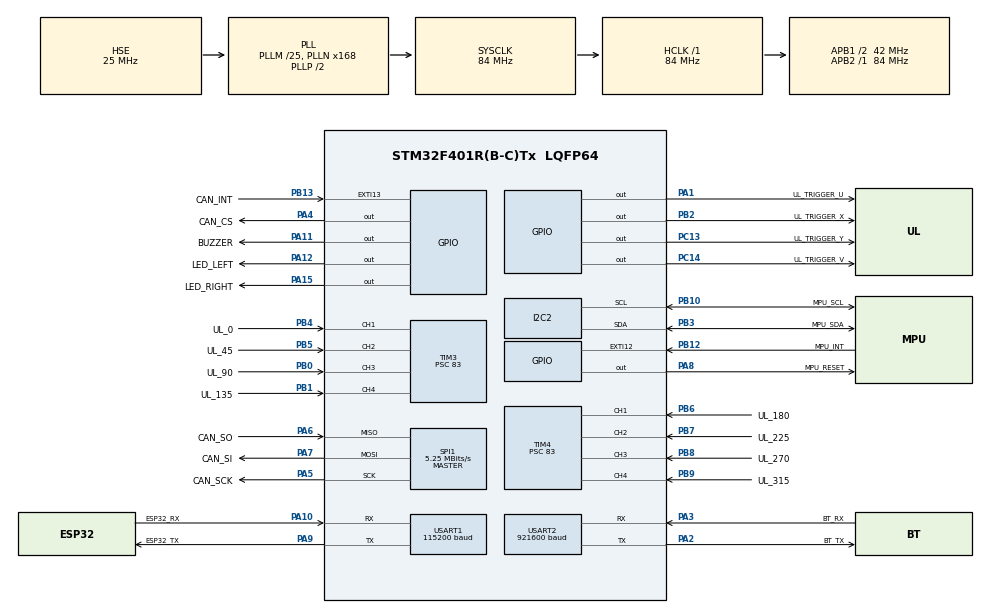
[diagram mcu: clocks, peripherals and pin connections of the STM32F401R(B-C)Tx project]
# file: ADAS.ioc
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FREERTOS.BinarySemaphores01=MPU_sema,Dynamic,NULL,Depleted;CONTROL_sema,Dynamic,NULL,Depleted;PID_tune_sema,Dynamic,NULL,Depleted;KalmanReady_sema,Dynamic,NULL,Depleted;YawPIDReady_sema,Dynamic,NULL,Depleted
FREERTOS.CountingSemaphores01=CAN_sema,2,Dynamic,NULL,0;Orientation_sema,2,Dynamic,NULL,0
FREERTOS.Tasks01=MPU_task,48,128,MPUtask,Default,NULL,Dynamic,NULL,NULL;CAN_task,48,512,CANtask,Default,NULL,Dynamic,NULL,NULL;MONITORING_task,48,128,MONITORINGtask,Default,NULL,Dynamic,NULL,NULL;Ultrasonic_task,48,128,ULTRASONICtask,Default,NULL,Dynamic,NULL,NULL;CONTROL_task,49,128,CONTROLtask,Default,NULL,Dynamic,NULL,NULL;YawKalman_task,48,128,YawKalmanTask,Default,NULL,Dynamic,NULL,NULL;YawPID_task,49,128,YawPIDtask,Default,NULL,Dynamic,NULL,NULL;ACC_Task,48,256,ACCtask,Default,NULL,Dynamic,NULL,NULL;TSR_Task,48,128,TSRtask,Default,NULL,Dynamic,NULL,NULL;BSD_task,48,128,BSDtask,Default,NULL,Dynamic,NULL,NULL;BUZZ_task,48,128,BUZZtask,Default,NULL,Dynamic,NULL,NULL;ALC_Task,48,128,ALCtask,Default,NULL,Dynamic,NULL,NULL;APK_Task,48,512,APKtask,Default,NULL,Dynamic,NULL,NULL
FREERTOS.Timers01=Timer_test,callback_test,osTimerPeriodic,Default,NULL,Dynamic,NULL
FREERTOS.configENABLE_FPU=1
FREERTOS.configRECORD_STACK_HIGH_ADDRESS=1
FREERTOS.configTOTAL_HEAP_SIZE=30720
I2C2.I2C_Mode=I2C_Fast
Mcu.Family=STM32F4
Mcu.Name=STM32F401R(B-C)Tx
Mcu.Package=LQFP64
NVIC.EXTI15_10_IRQn=true\:5\:0\:false\:false\:true\:true\:true\:true\:true
NVIC.PriorityGroup=NVIC_PRIORITYGROUP_4
NVIC.TIM1_UP_TIM10_IRQn=true\:15\:0\:false\:false\:true\:false\:false\:true\:true
NVIC.TIM3_IRQn=true\:5\:0\:false\:false\:true\:true\:true\:true\:true
NVIC.TIM4_IRQn=true\:5\:0\:false\:false\:true\:true\:true\:true\:true
NVIC.TimeBase=TIM1_UP_TIM10_IRQn
NVIC.TimeBaseIP=TIM10
NVIC.USART1_IRQn=true\:5\:0\:false\:false\:true\:true\:true\:true\:true
PA1.GPIO_Label=UL_TRIGGER_U
PA1.GPIO_ModeDefaultOutputPP=GPIO_MODE_OUTPUT_PP
PA1.GPIO_PuPd=GPIO_PULLDOWN
PA1.GPIO_Speed=GPIO_SPEED_FREQ_HIGH
PA1.PinState=GPIO_PIN_RESET
PA1.Signal=GPIO_Output
PA10.GPIO_Label=ESP32_RX
PA10.GPIO_PuPd=GPIO_PULLUP
PA10.Mode=Asynchronous
PA10.Signal=USART1_RX
PA11.GPIO_Label=BUZZER
PA11.GPIO_PuPd=GPIO_PULLDOWN
PA11.Signal=GPIO_Output
PA12.GPIO_Label=LED_LEFT
PA12.GPIO_PuPd=GPIO_PULLDOWN
PA12.Signal=GPIO_Output
PA13.Mode=Serial_Wire
PA13.Signal=SYS_JTMS-SWDIO
PA14.Mode=Serial_Wire
PA14.Signal=SYS_JTCK-SWCLK
PA15.GPIO_Label=LED_RIGHT
PA15.Signal=GPIO_Output
PA2.GPIO_Label=BT_TX
PA2.GPIO_ModeDefaultPP=GPIO_MODE_AF_PP
PA2.GPIO_PuPd=GPIO_PULLUP
PA2.Mode=Asynchronous
PA2.Signal=USART2_TX
PA3.GPIO_Label=BT_RX
PA3.GPIO_ModeDefaultPP=GPIO_MODE_AF_PP
PA3.GPIO_PuPd=GPIO_PULLUP
PA3.Mode=Asynchronous
PA3.Signal=USART2_RX
PA4.GPIO_Label=CAN_CS
PA4.GPIO_PuPd=GPIO_PULLUP
PA4.PinState=GPIO_PIN_SET
PA4.Signal=GPIO_Output
PA5.GPIO_Label=CAN_SCK
PA5.GPIO_PuPd=GPIO_PULLUP
PA5.Mode=Full_Duplex_Master
PA5.Signal=SPI1_SCK
PA6.GPIO_Label=CAN_SO
PA6.GPIO_PuPd=GPIO_PULLUP
PA6.Mode=Full_Duplex_Master
PA6.Signal=SPI1_MISO
PA7.GPIO_Label=CAN_SI
PA7.GPIO_PuPd=GPIO_PULLUP
PA7.Mode=Full_Duplex_Master
PA7.Signal=SPI1_MOSI
PA8.GPIO_Label=MPU_RESET
PA8.Signal=GPIO_Output
PA9.GPIO_Label=ESP32_TX
PA9.GPIO_PuPd=GPIO_PULLUP
PA9.Mode=Asynchronous
PA9.Signal=USART1_TX
PB0.GPIO_Label=UL_90
PB0.GPIO_PuPd=GPIO_PULLDOWN
PB0.Signal=S_TIM3_CH3
PB1.GPIO_Label=UL_135
PB1.GPIO_PuPd=GPIO_PULLDOWN
PB1.Signal=S_TIM3_CH4
PB10.GPIO_Label=MPU_SCL
PB10.GPIO_Mode=GPIO_MODE_AF_OD
PB10.GPIO_Pu=GPIO_PULLUP
PB10.GPIO_Speed=GPIO_SPEED_FREQ_VERY_HIGH
PB10.Mode=I2C
PB10.Signal=I2C2_SCL
PB12.GPIO_Label=MPU_INT
PB12.GPIO_ModeDefaultEXTI=GPIO_MODE_IT_RISING
PB12.GPIO_PuPd=GPIO_PULLDOWN
PB12.Signal=GPXTI12
PB13.GPIO_Label=CAN_INT
PB13.GPIO_ModeDefaultEXTI=GPIO_MODE_IT_FALLING
PB13.GPIO_PuPd=GPIO_PULLUP
PB13.Signal=GPXTI13
PB2.GPIO_Label=UL_TRIGGER_X
PB2.GPIO_ModeDefaultOutputPP=GPIO_MODE_OUTPUT_PP
PB2.GPIO_PuPd=GPIO_PULLDOWN
PB2.GPIO_Speed=GPIO_SPEED_FREQ_HIGH
PB2.PinState=GPIO_PIN_RESET
PB2.Signal=GPIO_Output
PB3.GPIO_Label=MPU_SDA
PB3.GPIO_Mode=GPIO_MODE_AF_OD
PB3.GPIO_Pu=GPIO_PULLUP
PB3.GPIO_Speed=GPIO_SPEED_FREQ_VERY_HIGH
PB3.Mode=I2C
PB3.Signal=I2C2_SDA
PB4.GPIO_Label=UL_0
PB4.GPIO_PuPd=GPIO_PULLDOWN
PB4.Signal=S_TIM3_CH1
PB5.GPIO_Label=UL_45
PB5.GPIO_PuPd=GPIO_PULLDOWN
PB5.Signal=S_TIM3_CH2
PB6.GPIO_Label=UL_180
PB6.GPIO_PuPd=GPIO_PULLDOWN
PB6.Signal=S_TIM4_CH1
PB7.GPIO_Label=UL_225
PB7.GPIO_PuPd=GPIO_PULLDOWN
PB7.Signal=S_TIM4_CH2
PB8.GPIO_Label=UL_270
PB8.GPIO_PuPd=GPIO_PULLDOWN
PB8.Signal=S_TIM4_CH3
PB9.GPIO_Label=UL_315
PB9.GPIO_PuPd=GPIO_PULLDOWN
PB9.Signal=S_TIM4_CH4
PC13-ANTI_TAMP.GPIO_Label=UL_TRIGGER_Y
PC13-ANTI_TAMP.Signal=GPIO_Output
PC14-OSC32_IN.GPIO_Label=UL_TRIGGER_V
PC14-OSC32_IN.Signal=GPIO_Output
PH0\ -\ OSC_IN.Mode=HSE-External-Oscillator
PH0\ -\ OSC_IN.Signal=RCC_OSC_IN
PH1\ -\ OSC_OUT.Mode=HSE-External-Oscillator
PH1\ -\ OSC_OUT.Signal=RCC_OSC_OUT
ProjectManager.HeapSize=0x200
ProjectManager.StackSize=0x400
ProjectManager.TargetToolchain=STM32CubeIDE
RCC.48MHZClocksFreq_Value=42000000
RCC.AHBFreq_Value=84000000
RCC.APB1CLKDivider=RCC_HCLK_DIV2
RCC.APB1Freq_Value=42000000
RCC.APB1TimFreq_Value=84000000
RCC.APB2Freq_Value=84000000
RCC.APB2TimFreq_Value=84000000
RCC.CortexFreq_Value=84000000
RCC.EnbaleCSS=true
RCC.HCLKFreq_Value=84000000
RCC.HSE_VALUE=25000000
RCC.HSI_VALUE=16000000
RCC.LSE_VALUE=32768
RCC.PLLM=25
RCC.PLLN=168
RCC.PLLSourceVirtual=RCC_PLLSOURCE_HSE
RCC.SYSCLKFreq_VALUE=84000000
RCC.SYSCLKSource=RCC_SYSCLKSOURCE_PLLCLK
RCC.VCOOutputFreq_Value=168000000
SH.S_TIM3_CH1.0=TIM3_CH1,Input_Capture1_from_TI1
SH.S_TIM3_CH2.0=TIM3_CH2,Input_Capture2_from_TI2
SH.S_TIM3_CH3.0=TIM3_CH3,Input_Capture3_from_TI3
SH.S_TIM3_CH4.0=TIM3_CH4,Input_Capture4_from_TI4
SH.S_TIM4_CH1.0=TIM4_CH1,Input_Capture1_from_TI1
SH.S_TIM4_CH2.0=TIM4_CH2,Input_Capture2_from_TI2
SH.S_TIM4_CH3.0=TIM4_CH3,Input_Capture3_from_TI3
SH.S_TIM4_CH4.0=TIM4_CH4,Input_Capture4_from_TI4
SPI1.BaudRatePrescaler=SPI_BAUDRATEPRESCALER_16
SPI1.CalculateBaudRate=5.25 MBits/s
SPI1.Direction=SPI_DIRECTION_2LINES
SPI1.Mode=SPI_MODE_MASTER
SPI1.VirtualType=VM_MASTER
TIM3.Channel-Input_Capture1_from_TI1=TIM_CHANNEL_1
TIM3.Channel-Input_Capture2_from_TI2=TIM_CHANNEL_2
TIM3.Channel-Input_Capture3_from_TI3=TIM_CHANNEL_3
TIM3.Channel-Input_Capture4_from_TI4=TIM_CHANNEL_4
TIM3.ICPolarity_CH1=TIM_INPUTCHANNELPOLARITY_BOTHEDGE
TIM3.ICPolarity_CH2=TIM_INPUTCHANNELPOLARITY_BOTHEDGE
TIM3.ICPolarity_CH3=TIM_INPUTCHANNELPOLARITY_BOTHEDGE
TIM3.ICPolarity_CH4=TIM_INPUTCHANNELPOLARITY_BOTHEDGE
TIM3.Prescaler=83
TIM4.Channel-Input_Capture1_from_TI1=TIM_CHANNEL_1
TIM4.Channel-Input_Capture2_from_TI2=TIM_CHANNEL_2
TIM4.Channel-Input_Capture3_from_TI3=TIM_CHANNEL_3
TIM4.Channel-Input_Capture4_from_TI4=TIM_CHANNEL_4
TIM4.ICPolarity_CH1=TIM_INPUTCHANNELPOLARITY_BOTHEDGE
TIM4.ICPolarity_CH2=TIM_INPUTCHANNELPOLARITY_BOTHEDGE
TIM4.ICPolarity_CH3=TIM_INPUTCHANNELPOLARITY_BOTHEDGE
TIM4.ICPolarity_CH4=TIM_INPUTCHANNELPOLARITY_BOTHEDGE
TIM4.Prescaler=83
USART1.BaudRate=115200
USART1.VirtualMode=VM_ASYNC
USART2.BaudRate=921600
USART2.Mode=MODE_TX_RX
USART2.Parity=PARITY_NONE
USART2.StopBits=STOPBITS_1
USART2.VirtualMode=VM_ASYNC
USART2.WordLength=WORDLENGTH_8B
VP_CRC_VS_CRC.Mode=CRC_Activate
VP_FREERTOS_VS_CMSIS_V2.Mode=CMSIS_V2
VP_SYS_VS_tim10.Mode=TIM10
board=custom

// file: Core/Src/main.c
/* USER CODE BEGIN Header */
/**
  ******************************************************************************
  * @file           : main.c
  * @brief          : Main program body
  ******************************************************************************
  * @attention
  *
  * Copyright (c) 2024 STMicroelectronics.
  * All rights reserved.
  *
  * This software is licensed under terms that can be found in the LICENSE file
  * in the root directory of this software component.
  * If no LICENSE file comes with this software, it is provided AS-IS.
  *
  ******************************************************************************
  */
/* USER CODE END Header */
#include "main.h"
#include "cmsis_os.h"
#include "crc.h"
#include "i2c.h"
#include "spi.h"
#include "tim.h"
#include "usart.h"
#include "gpio.h"

void SystemClock_Config(void);
void MX_FREERTOS_Init(void);

int main(void)
{

  /* MCU Configuration--------------------------------------------------------*/

  /* Reset of all peripherals, Initializes the Flash interface and the Systick. */
  HAL_Init();

  /* Configure the system clock */
  SystemClock_Config();

  /* Initialize all configured peripherals */
  MX_GPIO_Init();
  MX_TIM4_Init();
  MX_TIM3_Init();
  MX_I2C2_Init();
  MX_SPI1_Init();
  MX_USART1_UART_Init();
  MX_USART2_UART_Init();
  MX_CRC_Init();
  /* USER CODE BEGIN 2 */
  //HAL_TIM_PWM_Start(&htim4, TIM_CHANNEL_1);
  /* USER CODE END 2 */

  /* Init scheduler */
  osKernelInitialize();

  /* Call init function for freertos objects (in cmsis_os2.c) */
  MX_FREERTOS_Init();

  /* Start scheduler */
  osKernelStart();

  /* We should never get here as control is now taken by the scheduler */

  /* Infinite loop */
  while (1)
  {

  }
}

void SystemClock_Config(void)
{
  RCC_OscInitTypeDef RCC_OscInitStruct = {0};
  RCC_ClkInitTypeDef RCC_ClkInitStruct = {0};

  /** Configure the main internal regulator output voltage
  */
  __HAL_RCC_PWR_CLK_ENABLE();
  __HAL_PWR_VOLTAGESCALING_CONFIG(PWR_REGULATOR_VOLTAGE_SCALE2);

  /** Initializes the RCC Oscillators according to the specified parameters
  * in the RCC_OscInitTypeDef structure.
  */
  RCC_OscInitStruct.OscillatorType = RCC_OSCILLATORTYPE_HSE;
  RCC_OscInitStruct.HSEState = RCC_HSE_ON;
  RCC_OscInitStruct.PLL.PLLState = RCC_PLL_ON;
  RCC_OscInitStruct.PLL.PLLSource = RCC_PLLSOURCE_HSE;
  RCC_OscInitStruct.PLL.PLLM = 25;
  RCC_OscInitStruct.PLL.PLLN = 168;
  RCC_OscInitStruct.PLL.PLLP = RCC_PLLP_DIV2;
  RCC_OscInitStruct.PLL.PLLQ = 4;
  if (HAL_RCC_OscConfig(&RCC_OscInitStruct) != HAL_OK)
  {
    Error_Handler();
  }

  /** Initializes the CPU, AHB and APB buses clocks
  */
  RCC_ClkInitStruct.ClockType = RCC_CLOCKTYPE_HCLK|RCC_CLOCKTYPE_SYSCLK
                              |RCC_CLOCKTYPE_PCLK1|RCC_CLOCKTYPE_PCLK2;
  RCC_ClkInitStruct.SYSCLKSource = RCC_SYSCLKSOURCE_PLLCLK;
  RCC_ClkInitStruct.AHBCLKDivider = RCC_SYSCLK_DIV1;
  RCC_ClkInitStruct.APB1CLKDivider = RCC_HCLK_DIV2;
  RCC_ClkInitStruct.APB2CLKDivider = RCC_HCLK_DIV1;

  if (HAL_RCC_ClockConfig(&RCC_ClkInitStruct, FLASH_LATENCY_2) != HAL_OK)
  {
    Error_Handler();
  }

  /** Enables the Clock Security System
  */
  HAL_RCC_EnableCSS();
}

void HAL_TIM_PeriodElapsedCallback(TIM_HandleTypeDef *htim)
{
  if (htim->Instance == TIM10) {
    HAL_IncTick();
  }
}

void Error_Handler(void)
{
  __disable_irq();
  while (1)
  {
  }
}

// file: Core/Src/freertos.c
/* USER CODE BEGIN Header */
/**
  ******************************************************************************
  * File Name          : freertos.c
  * Description        : Code for freertos applications
  ******************************************************************************
  * @attention
  *
  * Copyright (c) 2025 STMicroelectronics.
  * All rights reserved.
  *
  * This software is licensed under terms that can be found in the LICENSE file
  * in the root directory of this software component.
  * If no LICENSE file comes with this software, it is provided AS-IS.
  *
  ******************************************************************************
  */
/* USER CODE END Header */

#include "FreeRTOS.h"
#include "task.h"
#include "main.h"
#include "cmsis_os.h"

/* USER CODE BEGIN Includes */
#include "../../APP_Layer/inc/APP.h"
/* USER CODE END Includes */

/* USER CODE BEGIN Variables */

uint8_t ACC_Flag = 0;
uint8_t TSR_Flag = 0;
uint8_t BSD_Flag = 0;
uint8_t APK_Flag = 0;
uint8_t Emergency_Stop_Flag = 0;

/* USER CODE END Variables */
/* Definitions for MPU_task */
osThreadId_t MPU_taskHandle;
const osThreadAttr_t MPU_task_attributes = {
  .name = "MPU_task",
  .stack_size = 128 * 4,
  .priority = (osPriority_t) osPriorityRealtime,
};
/* Definitions for CAN_task */
osThreadId_t CAN_taskHandle;
const osThreadAttr_t CAN_task_attributes = {
  .name = "CAN_task",
  .stack_size = 512 * 4,
  .priority = (osPriority_t) osPriorityRealtime,
};
/* Definitions for MONITORING_task */
osThreadId_t MONITORING_taskHandle;
const osThreadAttr_t MONITORING_task_attributes = {
  .name = "MONITORING_task",
  .stack_size = 128 * 4,
  .priority = (osPriority_t) osPriorityRealtime,
};
/* Definitions for Ultrasonic_task */
osThreadId_t Ultrasonic_taskHandle;
const osThreadAttr_t Ultrasonic_task_attributes = {
  .name = "Ultrasonic_task",
  .stack_size = 128 * 4,
  .priority = (osPriority_t) osPriorityRealtime,
};
/* Definitions for CONTROL_task */
osThreadId_t CONTROL_taskHandle;
const osThreadAttr_t CONTROL_task_attributes = {
  .name = "CONTROL_task",
  .stack_size = 128 * 4,
  .priority = (osPriority_t) osPriorityRealtime1,
};
/* Definitions for YawKalman_task */
osThreadId_t YawKalman_taskHandle;
const osThreadAttr_t YawKalman_task_attributes = {
  .name = "YawKalman_task",
  .stack_size = 128 * 4,
  .priority = (osPriority_t) osPriorityRealtime,
};
/* Definitions for YawPID_task */
osThreadId_t YawPID_taskHandle;
const osThreadAttr_t YawPID_task_attributes = {
  .name = "YawPID_task",
  .stack_size = 128 * 4,
  .priority = (osPriority_t) osPriorityRealtime1,
};
/* Definitions for ACC_Task */
osThreadId_t ACC_TaskHandle;
const osThreadAttr_t ACC_Task_attributes = {
  .name = "ACC_Task",
  .stack_size = 256 * 4,
  .priority = (osPriority_t) osPriorityRealtime,
};
/* Definitions for TSR_Task */
osThreadId_t TSR_TaskHandle;
const osThreadAttr_t TSR_Task_attributes = {
  .name = "TSR_Task",
  .stack_size = 128 * 4,
  .priority = (osPriority_t) osPriorityRealtime,
};
/* Definitions for BSD_task */
osThreadId_t BSD_taskHandle;
const osThreadAttr_t BSD_task_attributes = {
  .name = "BSD_task",
  .stack_size = 128 * 4,
  .priority = (osPriority_t) osPriorityRealtime,
};
/* Definitions for BUZZ_task */
osThreadId_t BUZZ_taskHandle;
const osThreadAttr_t BUZZ_task_attributes = {
  .name = "BUZZ_task",
  .stack_size = 128 * 4,
  .priority = (osPriority_t) osPriorityRealtime,
};
/* Definitions for ALC_Task */
osThreadId_t ALC_TaskHandle;
const osThreadAttr_t ALC_Task_attributes = {
  .name = "ALC_Task",
  .stack_size = 128 * 4,
  .priority = (osPriority_t) osPriorityRealtime,
};
/* Definitions for APK_Task */
osThreadId_t APK_TaskHandle;
const osThreadAttr_t APK_Task_attributes = {
  .name = "APK_Task",
  .stack_size = 512 * 4,
  .priority = (osPriority_t) osPriorityRealtime,
};
/* Definitions for Timer_test */
osTimerId_t Timer_testHandle;
const osTimerAttr_t Timer_test_attributes = {
  .name = "Timer_test"
};
/* Definitions for MPU_sema */
osSemaphoreId_t MPU_semaHandle;
const osSemaphoreAttr_t MPU_sema_attributes = {
  .name = "MPU_sema"
};
/* Definitions for CONTROL_sema */
osSemaphoreId_t CONTROL_semaHandle;
const osSemaphoreAttr_t CONTROL_sema_attributes = {
  .name = "CONTROL_sema"
};
/* Definitions for PID_tune_sema */
osSemaphoreId_t PID_tune_semaHandle;
const osSemaphoreAttr_t PID_tune_sema_attributes = {
  .name = "PID_tune_sema"
};
/* Definitions for KalmanReady_sema */
osSemaphoreId_t KalmanReady_semaHandle;
const osSemaphoreAttr_t KalmanReady_sema_attributes = {
  .name = "KalmanReady_sema"
};
/* Definitions for YawPIDReady_sema */
osSemaphoreId_t YawPIDReady_semaHandle;
const osSemaphoreAttr_t YawPIDReady_sema_attributes = {
  .name = "YawPIDReady_sema"
};
/* Definitions for CAN_sema */
osSemaphoreId_t CAN_semaHandle;
const osSemaphoreAttr_t CAN_sema_attributes = {
  .name = "CAN_sema"
};
/* Definitions for Orientation_sema */
osSemaphoreId_t Orientation_semaHandle;
const osSemaphoreAttr_t Orientation_sema_attributes = {
  .name = "Orientation_sema"
};

/* USER CODE BEGIN FunctionPrototypes */
void Adaptive_Cruise_Control(void *);
void Traffic_Sign_Recognition(void *);
void Blind_Spot_Detection(void *);
void Change_Lane_Left(void *);
void Change_Lane_Right(void *);
void Park(void *);
void Increase_N(void *);
void Emergency_Stop(void *);

void Yaw_PID_suspend(void);
void Yaw_PID_resume(void);

void BuzzerDelay(uint32_t ticks);
void BuzzerResume(void);
void BuzzerSuspend(void);
/* USER CODE END FunctionPrototypes */

void MPUtask(void *argument);
void CANtask(void *argument);
void MONITORINGtask(void *argument);
void ULTRASONICtask(void *argument);
void CONTROLtask(void *argument);
void YawKalmanTask(void *argument);
void YawPIDtask(void *argument);
void ACCtask(void *argument);
void TSRtask(void *argument);
void BSDtask(void *argument);
void BUZZtask(void *argument);
void ALCtask(void *argument);
void APKtask(void *argument);
void callback_test(void *argument);

void MX_FREERTOS_Init(void); /* (MISRA C 2004 rule 8.1) */

void MX_FREERTOS_Init(void) {

  /* Create the semaphores(s) */
  /* creation of MPU_sema */
  MPU_semaHandle = osSemaphoreNew(1, 0, &MPU_sema_attributes);

  /* creation of CONTROL_sema */
  CONTROL_semaHandle = osSemaphoreNew(1, 0, &CONTROL_sema_attributes);

  /* creation of PID_tune_sema */
  PID_tune_semaHandle = osSemaphoreNew(1, 0, &PID_tune_sema_attributes);

  /* creation of KalmanReady_sema */
  KalmanReady_semaHandle = osSemaphoreNew(1, 0, &KalmanReady_sema_attributes);

  /* creation of YawPIDReady_sema */
  YawPIDReady_semaHandle = osSemaphoreNew(1, 0, &YawPIDReady_sema_attributes);

  /* creation of CAN_sema */
  CAN_semaHandle = osSemaphoreNew(2, 0, &CAN_sema_attributes);

  /* creation of Orientation_sema */
  Orientation_semaHandle = osSemaphoreNew(2, 0, &Orientation_sema_attributes);

  /* Create the timer(s) */
  /* creation of Timer_test */
  Timer_testHandle = osTimerNew(callback_test, osTimerPeriodic, NULL, &Timer_test_attributes);

  /* Create the thread(s) */
  /* creation of MPU_task */
  MPU_taskHandle = osThreadNew(MPUtask, NULL, &MPU_task_attributes);

  /* creation of CAN_task */
  CAN_taskHandle = osThreadNew(CANtask, NULL, &CAN_task_attributes);

  /* creation of MONITORING_task */
  MONITORING_taskHandle = osThreadNew(MONITORINGtask, NULL, &MONITORING_task_attributes);

  /* creation of Ultrasonic_task */
  Ultrasonic_taskHandle = osThreadNew(ULTRASONICtask, NULL, &Ultrasonic_task_attributes);

  /* creation of CONTROL_task */
  CONTROL_taskHandle = osThreadNew(CONTROLtask, NULL, &CONTROL_task_attributes);

  /* creation of YawKalman_task */
  YawKalman_taskHandle = osThreadNew(YawKalmanTask, NULL, &YawKalman_task_attributes);

  /* creation of YawPID_task */
  YawPID_taskHandle = osThreadNew(YawPIDtask, NULL, &YawPID_task_attributes);

  /* creation of ACC_Task */
  ACC_TaskHandle = osThreadNew(ACCtask, NULL, &ACC_Task_attributes);

  /* creation of TSR_Task */
  TSR_TaskHandle = osThreadNew(TSRtask, NULL, &TSR_Task_attributes);

  /* creation of BSD_task */
  BSD_taskHandle = osThreadNew(BSDtask, NULL, &BSD_task_attributes);

  /* creation of BUZZ_task */
  BUZZ_taskHandle = osThreadNew(BUZZtask, NULL, &BUZZ_task_attributes);

  /* creation of ALC_Task */
  ALC_TaskHandle = osThreadNew(ALCtask, NULL, &ALC_Task_attributes);

  /* creation of APK_Task */
  APK_TaskHandle = osThreadNew(APKtask, NULL, &APK_Task_attributes);

}

void MPUtask(void *argument)
{
  /* USER CODE BEGIN MPUtask */
  osDelay(100);
  app_status_t t_AppStatus = MPU_task_init(&Main_MPU);
  osSemaphoreAcquire(Orientation_semaHandle, osWaitForever);
  for (uint32_t i = 0; i < 100; i++)
  {
    osSemaphoreAcquire(MPU_semaHandle, osWaitForever);
    t_AppStatus |= MPU_update_task(&Main_MPU);
    MpuGz = Main_MPU.mpu->Gz;
    t_AppStatus |= Orientation_Gyro_calibration(&Main_Orientation);
  }
  Main_Orientation.GyroBias /= 100.0f;
  osSemaphoreRelease(KalmanReady_semaHandle);
  osSemaphoreRelease(YawPIDReady_semaHandle);
  /* Infinite loop */
  for(;;)
  {
    osSemaphoreAcquire(MPU_semaHandle, osWaitForever);
    t_AppStatus |= MPU_update_task(&Main_MPU);
    MpuGz = Main_MPU.mpu->Gz;
  }
  /* USER CODE END MPUtask */
}

void CANtask(void *argument)
{
  /* USER CODE BEGIN CANtask */
  app_status_t t_AppStatus = CAN_task_init(&Main_CAN);
  t_AppStatus |= messages_init(Yaw_PID_suspend, Yaw_PID_resume);
  /* Infinite loop */
  for(;;)
  {
	//while(flag == 0);
    osSemaphoreAcquire(CAN_semaHandle, osWaitForever);
    t_AppStatus |= CAN_rx_task(&Main_CAN);
    //flag = 0;
  }
  /* USER CODE END CANtask */
}

void MONITORINGtask(void *argument)
{
  /* USER CODE BEGIN MONITORINGtask */
  app_status_t t_AppStatus = monitor_task_init(&Main_Monitor_values);
  /* Infinite loop */
  for(;;)
  {
    t_AppStatus |= monitor_update_task(&Main_Monitor_values);
    osDelay(100);
  }
  /* USER CODE END MONITORINGtask */
}

void ULTRASONICtask(void *argument)
{
  /* USER CODE BEGIN ULTRASONICtask */
  app_status_t t_AppStatus = ultrasonics_task_init(&Main_Ultrasonics);
  /* Infinite loop */
  for(;;)
  {
    t_AppStatus |= ultrasonics_update_task_X(&Main_Ultrasonics);
    osDelay(50);
    t_AppStatus |= ultrasonics_outlier_detect_X(&Main_Ultrasonics);

    t_AppStatus |= ultrasonics_update_task_Y(&Main_Ultrasonics);
    osDelay(50);
    t_AppStatus |= ultrasonics_outlier_detect_Y(&Main_Ultrasonics);

    t_AppStatus |= ultrasonics_update_task_U(&Main_Ultrasonics);
    osDelay(50);
    t_AppStatus |= ultrasonics_outlier_detect_U(&Main_Ultrasonics);

    t_AppStatus |= ultrasonics_update_task_V(&Main_Ultrasonics);
    osDelay(50);
    t_AppStatus |= ultrasonics_outlier_detect_V(&Main_Ultrasonics);

  }
  /* USER CODE END ULTRASONICtask */
}

void CONTROLtask(void *argument)
{
  /* USER CODE BEGIN CONTROLtask */
  app_status_t t_AppStatus = APP_OK;
  t_AppStatus |= controller_get_yaw_control_init(&Main_Controller, Yaw_PID_suspend);
  t_AppStatus |= controller_give_yaw_control_init(&Main_Controller, Yaw_PID_resume);
  t_AppStatus |= controller_add_callback(&Main_Controller, UP, Adaptive_Cruise_Control);
  t_AppStatus |= controller_add_callback(&Main_Controller, DOWN, Traffic_Sign_Recognition);
  t_AppStatus |= controller_add_callback(&Main_Controller, LEFT, Blind_Spot_Detection);
  t_AppStatus |= controller_add_callback(&Main_Controller, RIGHT, Change_Lane_Left);
  t_AppStatus |= controller_add_callback(&Main_Controller, SELECT, Change_Lane_Right);
  t_AppStatus |= controller_add_callback(&Main_Controller, START, Park);
  t_AppStatus |= controller_add_callback(&Main_Controller, LEFT_STICK, Increase_N);
  t_AppStatus |= controller_add_callback(&Main_Controller, RITHT_STICK, Park);
  /* Infinite loop */
  for(;;)
  {
    t_AppStatus |= controller_wait_receive(&Main_Controller);
    osSemaphoreAcquire(CONTROL_semaHandle, osWaitForever);
    t_AppStatus |= controller_task(&Main_Controller);
  }
  /* USER CODE END CONTROLtask */
}

void YawKalmanTask(void *argument)
{
  /* USER CODE BEGIN YawKalmanTask */
  app_status_t t_AppStatus = Orientation_task_init(&Main_Orientation);
  osSemaphoreRelease(Orientation_semaHandle);
  osSemaphoreAcquire(KalmanReady_semaHandle, osWaitForever);
  /* Infinite loop */
  for(;;)
  {
    t_AppStatus |= Orientation_Kf_task(&Main_Orientation);
    osDelay(10);
  }
  /* USER CODE END YawKalmanTask */
}

void YawPIDtask(void *argument)
{
  /* USER CODE BEGIN YawPIDtask */
  app_status_t t_AppStatus = APP_OK;
  osSemaphoreAcquire(YawPIDReady_semaHandle, osWaitForever);
  float_t Omega_z_flag = 0;
  //osThreadSuspend(YawPID_taskHandle);
  /* Infinite loop */
  for(;;)
  {
	  Omega_z_flag = Omega_z;
    t_AppStatus |= Orientation_PID_task(&Main_Orientation, &Omega_z, Car_Wanted_Angle);
    if (Omega_z_flag != Omega_z)
    	t_AppStatus |= CAN_send_message(&Main_CAN, &msg_robot_Wz);
    osDelay(10);
  }
  /* USER CODE END YawPIDtask */
}

void ACCtask(void *argument)
{
  /* USER CODE BEGIN ACCtask */
  app_status_t t_AppStatus = ACC_task_init(&ACC_Object);
  osThreadSuspend(ACC_TaskHandle);
  /* Infinite loop */
  for(;;)
  {
    t_AppStatus |= ACC_relative_task(&ACC_Object);
    osDelay(100);
  }
  /* USER CODE END ACCtask */
}

void TSRtask(void *argument)
{
  /* USER CODE BEGIN TSRtask */
  app_status_t t_AppStatus = APP_OK;
  osThreadSuspend(TSR_TaskHandle);
  /* Infinite loop */
  for(;;)
  {
    t_AppStatus = TSR_task();
    osDelay(200);
  }
  /* USER CODE END TSRtask */
}

void BSDtask(void *argument)
{
  /* USER CODE BEGIN BSDtask */
  app_status_t t_AppStatus = BSD_init(&BSD_Object, BuzzerDelay, BuzzerSuspend, BuzzerResume);
  osDelay(2000);
  osThreadSuspend(BSD_taskHandle);
  /* Infinite loop */
  for(;;)
  {
    t_AppStatus |= BSD_task(&BSD_Object);
    osDelay(100);
  }
  /* USER CODE END BSDtask */
}

void BUZZtask(void *argument)
{
  /* USER CODE BEGIN BUZZtask */
  app_status_t t_AppStatus = APP_OK;
  BuzzerSuspend();
  /* Infinite loop */
  for(;;)
  {
    t_AppStatus |= BSD_buzzer_task(&BSD_Object);
    if (BSD_Flag == 0)
      BuzzerSuspend();
  }
  /* USER CODE END BUZZtask */
}

void ALCtask(void *argument)
{
  /* USER CODE BEGIN ALCtask */
  app_status_t t_AppStatus = APP_OK;
  osThreadSuspend(ALC_TaskHandle);
  /* Infinite loop */
  for(;;)
  {
    t_AppStatus |= ALC_Task();
    osDelay(250);
    //osDelay(100);
  }
  /* USER CODE END ALCtask */
}

void APKtask(void *argument)
{
  /* USER CODE BEGIN APKtask */
  app_status_t t_AppStatus = APP_OK;
  osThreadSuspend(APK_TaskHandle);
  /* Infinite loop */
  for(;;)
  {
    t_AppStatus |= APK_Task(&APK_Object);
    osDelay(300);
    if (APK_Object.Mode_Parking == MODE_PARKING_PARK)
    {
      APK_Flag = 0; // wait for turnning on the feature
      osThreadSuspend(APK_TaskHandle);
    }
  }
  /* USER CODE END APKtask */
}

/* callback_test function */
void callback_test(void *argument)
{
}

/* USER CODE BEGIN Application */
void HAL_GPIO_EXTI_Callback(uint16_t GPIO_Pin)
{
  if (GPIO_Pin == CAN_INT_Pin)
  {
	 osSemaphoreRelease(CAN_semaHandle);
  }
  if (GPIO_Pin == MPU_INT_Pin)
  {
    osSemaphoreRelease(MPU_semaHandle);
  }
}

void HAL_UART_RxCpltCallback(UART_HandleTypeDef *huart)
{
  osSemaphoreRelease(CONTROL_semaHandle);
}

/******************************************** Buttons CallBacks *******************************************************/

/**
 * @brief the callback function which will be called when the adaptive cruise control button will be pressed
 */
void Adaptive_Cruise_Control(void *)
{
  if (ACC_Flag == 0)
  {
    // move the car in front direction with the maximum allowed speed
    Car_Wanted_Speed = DEFUALT_ROBOT_MAX_SPEED;
    Car_Wanted_direction = 0;
    CAN_send_message(&Main_CAN, &msg_robot_strafe);

    osThreadResume(ACC_TaskHandle);
    osThreadResume(ALC_TaskHandle);

    ACC_Flag = 1; // wait for turnning off the feature
  }
  else if (ACC_Flag == 1)
  {
    osThreadSuspend(ACC_TaskHandle);
    osThreadSuspend(ALC_TaskHandle);

    ACC_Flag = 0; // wait for turnning on the feature
  }
}

/**
 * @brief the callback function which will be called when the traffic sign recognition button will be pressed
 */
void Traffic_Sign_Recognition(void *)
{
  if (TSR_Flag == 0)
  {
    osThreadResume(TSR_TaskHandle);

    TSR_Flag = 1; // wait for turnning off the feature
  }
  else if (TSR_Flag == 1)
  {
    osThreadSuspend(TSR_TaskHandle);

    TSR_Flag = 0; // wait for turnning on the feature
  }
}

/**
 * @brief the callback function which will be called when the blind spot detection button will be pressed
 *
 */
void Blind_Spot_Detection(void *)
{
  if (BSD_Flag == 0)
  {
    osThreadResume(BSD_taskHandle);

    BSD_Flag = 1; // wait for turnning off the feature
  }
  else if (BSD_Flag == 1)
  {
    osThreadSuspend(BSD_taskHandle);

    BSD_Flag = 0; // wait for turnning on the feature
  }
}

void Change_Lane_Left(void *)
{
	ALC_Change_Lane(D_LEFT);
}

void Change_Lane_Right(void *)
{
  ALC_Change_Lane(D_RIGHT);
}

void Park(void *)
{
  if (APK_Flag == 0)
  {

    osThreadResume(APK_TaskHandle);

    APK_Flag = 1; // wait for turnning off the feature
  }
  else if (APK_Flag == 1)
  {
    osThreadSuspend(APK_TaskHandle);
    APK_Flag = 0; // wait for turnning on the feature
  }
  /* Reserved */
}

void Increase_N(void *)
{
  Car_Wanted_Speed = 0.3 * DEFUALT_ROBOT_MAX_SPEED;
  Car_Wanted_direction = 0;
  CAN_send_message(&Main_CAN, &msg_robot_strafe);
}

void Emergency_Stop(void *)
{
  if (Emergency_Stop_Flag == 0)
  {
    osThreadSuspend(CONTROL_taskHandle);
    osThreadResume(APK_TaskHandle);
    Emergency_Parking_Flag = 0x0A;
    Emergency_Stop_Flag = 1; // wait for turnning off the feature
  }
  else if (Emergency_Stop_Flag == 1)
  {
    osThreadResume(CONTROL_taskHandle);
    osThreadSuspend(APK_TaskHandle);
    Emergency_Parking_Flag = 0x00;
    Emergency_Stop_Flag = 0; // wait for turnning on the feature
  }
}

void Yaw_PID_suspend(void)
{
  osThreadSuspend(YawPID_taskHandle);
}

void Yaw_PID_resume(void)
{
  osThreadResume(YawPID_taskHandle);
}

void BuzzerDelay(uint32_t ticks)
{
  osDelay(ticks);
}

void BuzzerResume(void)
{
  osThreadResume(BUZZ_taskHandle);
}

void BuzzerSuspend(void)
{
  osThreadSuspend(BUZZ_taskHandle);
}

/* USER CODE END Application */
